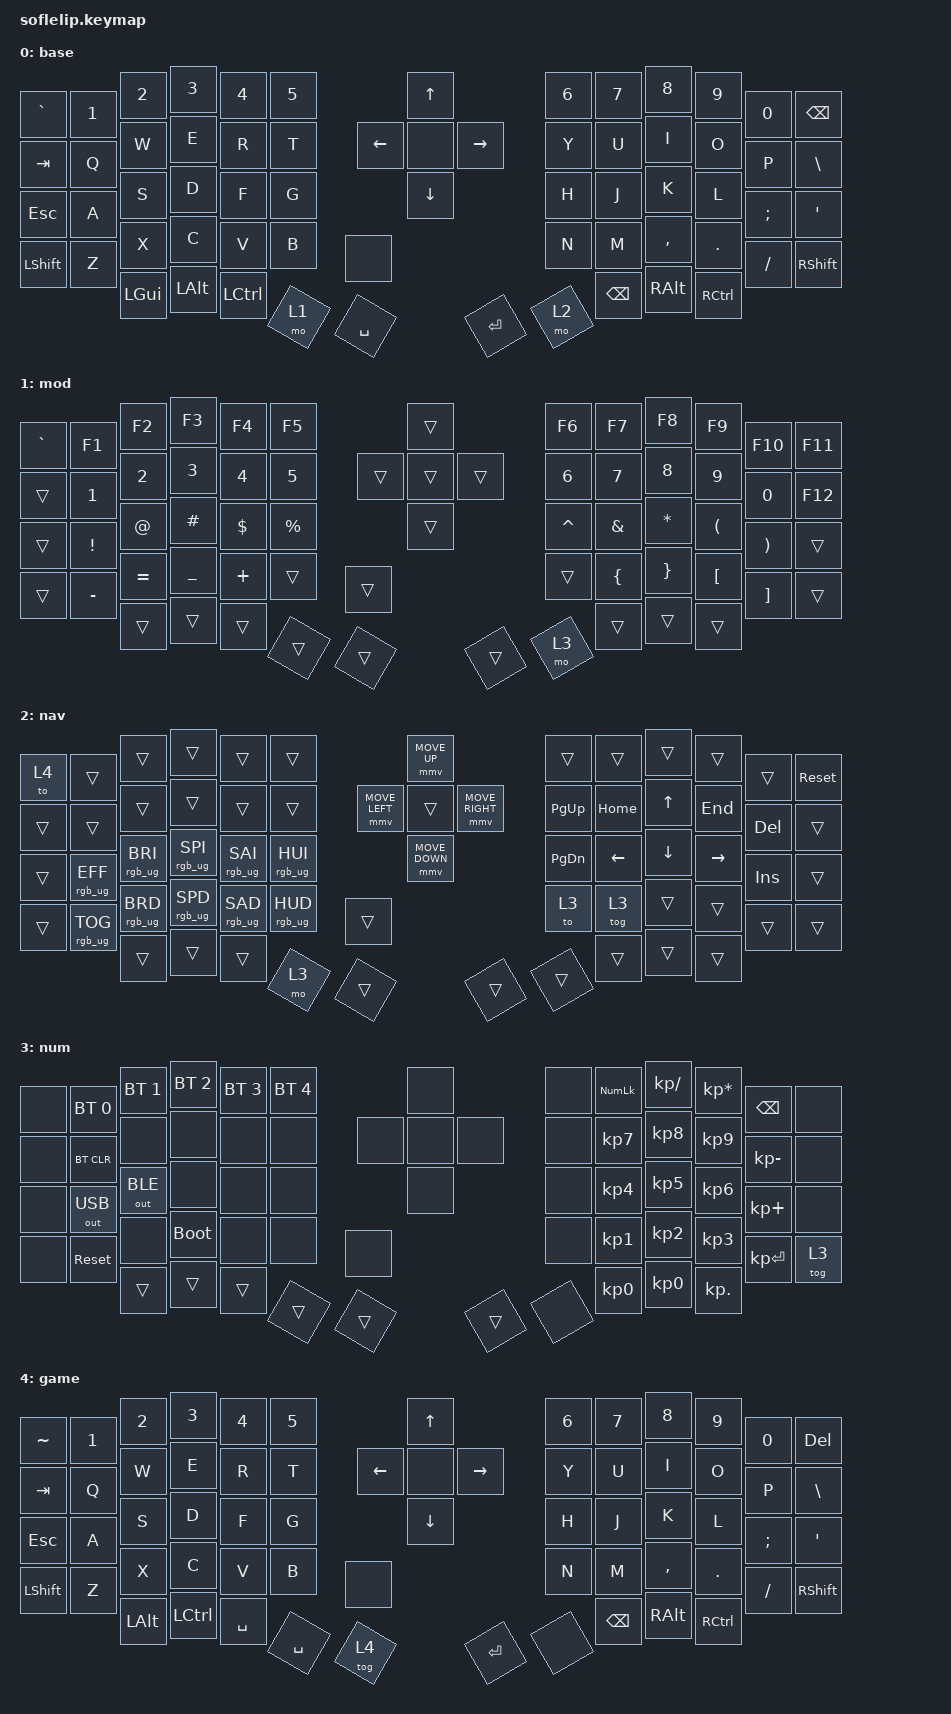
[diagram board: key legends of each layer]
#define ZMK_POINTING_DEFAULT_MOVE_VAL 1200  // 600
#define ZMK_POINTING_DEFAULT_SCRL_VAL 25   // 10

#include <input/processors.dtsi>
#include <zephyr/dt-bindings/input/input-event-codes.h>
#include <behaviors.dtsi>
#include <dt-bindings/zmk/bt.h>
#include <dt-bindings/zmk/keys.h>
#include <dt-bindings/zmk/outputs.h>
#include <dt-bindings/zmk/pointing.h>
#include <dt-bindings/zmk/rgb.h>

&mmv_input_listener { input-processors = <&zip_xy_scaler 2 1>; };

&msc_input_listener { input-processors = <&zip_scroll_scaler 2 1>; };

&msc {
    acceleration-exponent = <1>;      // 0
    time-to-max-speed-ms = <100>;       // 300
    delay-ms = <0>;                   // 0
};

&mmv {
    time-to-max-speed-ms = <500>;
    acceleration-exponent = <1>;
    trigger-period-ms = <16>;
};

&soft_off { hold-time-ms = <2000>; };

/ {
    scroll_encoder: scroll_encoder {
        compatible = "zmk,behavior-sensor-rotate";
        #sensor-binding-cells = <0>;
        bindings = <&msc SCRL_DOWN>, <&msc SCRL_UP>;

        tap-ms = <100>;
    };

    behaviors {
    };

    combos {
        compatible = "zmk,combos";

        softoff {
            bindings = <&soft_off>;
            key-positions = <14 28 40>;
        };
    };

    keymap {
        compatible = "zmk,keymap";

        BASE {
            bindings = <
&kp GRAVE   &kp N1        &kp N2        &kp N3            &kp N4  &kp N5       &kp UP_ARROW     &kp N6     &kp N7  &kp N8         &kp N9         &kp N0             &kp BACKSPACE
&kp TAB     &kp Q         &kp W         &kp E             &kp R   &kp T        &kp DOWN_ARROW   &kp Y      &kp U   &kp I          &kp O          &kp P              &kp BSLH
&kp ESCAPE  &kp A         &kp S         &kp D             &kp F   &kp G        &kp LEFT_ARROW   &kp H      &kp J   &kp K          &kp L          &kp SEMI           &kp APOS
&kp LSHFT   &kp Z         &kp X         &kp C             &kp V   &kp B        &kp RIGHT_ARROW  &kp N      &kp M   &kp COMMA      &kp DOT        &kp FSLH           &kp RIGHT_SHIFT
&none       &kp LEFT_GUI  &kp LEFT_ALT  &kp LEFT_CONTROL  &mo 1   &kp SPACE    &none            &kp ENTER  &mo 2   &kp BACKSPACE  &kp RIGHT_ALT  &kp RIGHT_CONTROL
            >;

            display-name = "base";
        };

        MOD {
            bindings = <
&kp GRAVE  &kp F1           &kp F2        &kp F3          &kp F4        &kp F5         &trans  &kp F6        &kp F7          &kp F8           &kp F9                &kp F10                &kp F11
&trans     &kp NUMBER_1     &kp NUMBER_2  &kp NUMBER_3    &kp NUMBER_4  &kp N5         &trans  &kp NUMBER_6  &kp N7          &kp N8           &kp N9                &kp N0                 &kp F12
&trans     &kp EXCLAMATION  &kp AT_SIGN   &kp HASH        &kp DOLLAR    &kp PERCENT    &trans  &kp CARET     &kp AMPERSAND   &kp ASTERISK     &kp LEFT_PARENTHESIS  &kp RIGHT_PARENTHESIS  &trans
&trans     &kp MINUS        &kp EQUAL     &kp UNDERSCORE  &kp PLUS      &trans         &trans  &trans        &kp LEFT_BRACE  &kp RIGHT_BRACE  &kp LEFT_BRACKET      &kp RIGHT_BRACKET      &trans
&trans     &trans           &trans        &trans          &trans        &trans         &trans  &trans        &mo 3           &trans           &trans                &trans
            >;

            display-name = "mod";
        };

        NAV {
            bindings = <
&to 4   &trans           &trans           &trans           &trans           &trans             &mmv MOVE_UP     &trans         &trans    &trans        &trans     &trans      &sys_reset
&trans  &trans           &trans           &trans           &trans           &trans             &mmv MOVE_DOWN   &kp PAGE_UP    &kp HOME  &kp UP_ARROW  &kp END    &kp DELETE  &trans
&trans  &rgb_ug RGB_EFF  &rgb_ug RGB_BRI  &rgb_ug RGB_SPI  &rgb_ug RGB_SAI  &rgb_ug RGB_HUI    &mmv MOVE_LEFT   &kp PAGE_DOWN  &kp LEFT  &kp DOWN      &kp RIGHT  &kp INSERT  &trans
&trans  &rgb_ug RGB_TOG  &rgb_ug RGB_BRD  &rgb_ug RGB_SPD  &rgb_ug RGB_SAD  &rgb_ug RGB_HUD    &mmv MOVE_RIGHT  &to 3          &tog 3    &trans        &trans     &trans      &trans
&trans  &trans           &trans           &trans           &mo 3            &trans             &trans           &trans         &trans    &trans        &trans     &trans
            >;

            display-name = "nav";
        };

        NUM {
            bindings = <
&none  &bt BT_SEL 0  &bt BT_SEL 1  &bt BT_SEL 2  &bt BT_SEL 3  &bt BT_SEL 4    &none  &none   &kp KP_NUMLOCK   &kp KP_DIVIDE    &kp KP_MULTIPLY  &kp BACKSPACE  &none
&none  &bt BT_CLR    &none         &none         &none         &none           &none  &none   &kp KP_NUMBER_7  &kp KP_NUMBER_8  &kp KP_NUMBER_9  &kp KP_MINUS   &none
&none  &out OUT_USB  &out OUT_BLE  &none         &none         &none           &none  &none   &kp KP_NUMBER_4  &kp KP_NUMBER_5  &kp KP_NUMBER_6  &kp KP_PLUS    &none
&none  &sys_reset    &none         &bootloader   &none         &none           &none  &none   &kp KP_NUMBER_1  &kp KP_NUMBER_2  &kp KP_NUMBER_3  &kp KP_ENTER   &tog 3
&none  &trans        &trans        &trans        &trans        &trans          &none  &trans  &none            &kp KP_NUMBER_0  &kp KP_NUMBER_0  &kp KP_DOT
            >;

            display-name = "num";
        };

        GAME {
            display-name = "game";
            bindings = <
&kp TILDE   &kp N1        &kp N2            &kp N3     &kp N4     &kp N5    &kp UP_ARROW     &kp N6     &kp N7  &kp N8         &kp N9         &kp N0             &kp DELETE
&kp TAB     &kp Q         &kp W             &kp E      &kp R      &kp T     &kp DOWN_ARROW   &kp Y      &kp U   &kp I          &kp O          &kp P              &kp BSLH
&kp ESCAPE  &kp A         &kp S             &kp D      &kp F      &kp G     &kp LEFT_ARROW   &kp H      &kp J   &kp K          &kp L          &kp SEMI           &kp APOS
&kp LSHFT   &kp Z         &kp X             &kp C      &kp V      &kp B     &kp RIGHT_ARROW  &kp N      &kp M   &kp COMMA      &kp DOT        &kp FSLH           &kp RIGHT_SHIFT
&none       &kp LEFT_ALT  &kp LEFT_CONTROL  &kp SPACE  &kp SPACE  &tog 4    &none            &kp ENTER  &none   &kp BACKSPACE  &kp RIGHT_ALT  &kp RIGHT_CONTROL
            >;
        };
    };

    conditional_layers { compatible = "zmk,conditional-layers"; };
};
